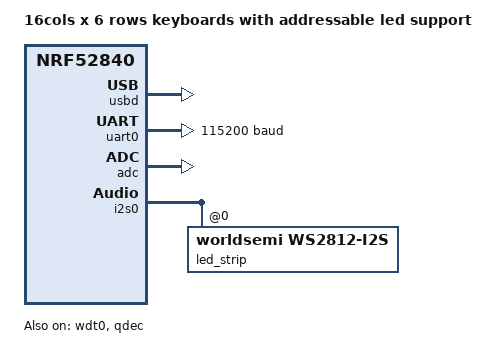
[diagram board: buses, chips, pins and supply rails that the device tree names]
/dts-v1/;
#include <nordic/nrf52840_qiaa.dtsi>
#include "KeyBored_nrf52840-pinctrl.dtsi"
#include <zephyr/dt-bindings/led/led.h>


/ {
	model = "16cols x 6 rows keyboards with addressable led support";
	compatible = "GitHub_tomertomism,KeyBored-nrf52840";

	chosen {
		zephyr,sram = &sram0;
		zephyr,flash = &flash0;
		zephyr,code-partition = &slot0_partition;
		zephyr,console = &uart0;
	};

	// vbatt {
	// 	compatible = "voltage-divider";
	// 	io-channels = <&adc 5>;
	// 	output-ohms = <100000>;
	// 	full-ohms = <(100000 + 100000)>;
	// };

};

&flash0 {
	partitions {
		compatible = "fixed-partitions";
		#address-cells = <1>;
		#size-cells = <1>;

		boot_partition: partition@0 {
			label = "mcuboot";
			reg = <0x00000000 DT_SIZE_K(48)>;
		};

		slot0_partition: partition@c000 {
			label = "image-0";
			reg = <0x0000c000 DT_SIZE_K(472)>;
		};

		slot1_partition: partition@82000 {
			label = "image-1";
			reg = <0x00082000 DT_SIZE_K(472)>;
		};

		storage_partition: partition@f8000 {
			label = "storage";
			reg = <0x000f8000 DT_SIZE_K(32)>;
		};
	};
};

// &reg1 {
// 	regulator-initial-mode = <NRF5X_REG_MODE_DCDC>;
// };

zephyr_udc0: &usbd {
	compatible = "nordic,nrf-usbd";
	status = "okay";
};

&uart0 {
	compatible = "nordic,nrf-uart";
	current-speed = <115200>;
	status = "okay";
	pinctrl-0 = <&uart0_default>;
	pinctrl-1 = <&uart0_sleep>;
	pinctrl-names = "default", "sleep";
};

&wdt0 {
	status = "okay";
};

&adc {
	status = "okay";
};

&uicr {
	gpio-as-nreset;
};

&gpiote {
	status = "okay";
};

&gpio0 {
	status = "okay";

};

&gpio1 {
	status = "okay";
};

just_a_qdec: &qdec {
	compatible = "nordic,nrf-qdec";
	status = "okay";
	pinctrl-0 = <&qdec_default>;
	pinctrl-1 = <&qdec_sleep>;
	pinctrl-names = "default", "sleep";
	steps = <4>;
	led-pre = <0>;
};

&i2s0 {
	status = "okay";
	pinctrl-0 = <&i2s_default>;
	pinctrl-1 = <&i2s_sleep>;
	pinctrl-names = "default", "sleep";

	led_strip: ws2812@0 {
		compatible = "worldsemi,ws2812-i2s";
		status = "okay";
		#address-cells = <1>;
		#size-cells = <0>;
		reg = <0>;
		chain-length = <82>;
		color-mapping = <LED_COLOR_ID_GREEN>,
				<LED_COLOR_ID_RED>,
				<LED_COLOR_ID_BLUE>;
	};
};
